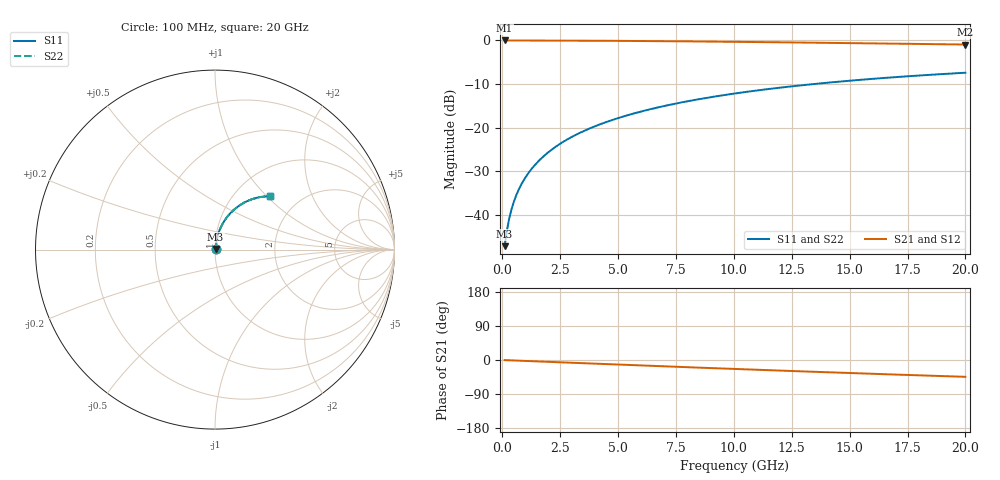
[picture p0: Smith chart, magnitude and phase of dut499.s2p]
! Touchstone file exported from HFSS 2026.1.0
!  File:  C:/ffzhzh/LocalFiles/Ansys_Project_Files/temp_train_TMRDL_499_1783006714_46388.aedt
!  Generated:  11:39:59 PM Jul  2, 2026
!  Design:  TMRDL
!  Project:  temp_train_TMRDL_499_1783006714_46388
! Variables:
!  h_bsmrdl = 2um
!  h_ox = 20um
!  h_rdl = 5um
!  h_sub = 80um
!  h_tmrdl = 2.87um
!  h_tsv = 80um
!  h_via = 3um
!  l_bsmrdl = 300um
!  l_sub = 1022.93um
!  l_tmrdl = 622.93um
!  m_sub = 200um
!  pitch = 57.88um
!  r_tsv = 6um
!  s_tmrdl = 10um
!  w_bsmrdl = 18um
!  w_sub = 500um
!  w_tmrdl = 25.05um
!  x_tsv_center1 = 635.455um
!  x_tsv_center2 = 953.455um
!  x_tsv_center3 = 1601.435um
!  x_tsv_center4 = 1919.435um
!  x_tsv_center5 = 2567.415um
!  x_tsv_center6 = 2885.415um
# GHz S MA R 50.000000
! Terminal data exported
! Port[1] = TM_RDL1_1_T1
! Port[2] = TM_RDL1_1_T2
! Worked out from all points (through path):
!   200 points, 100 MHz to 20 GHz, reference 50 ohm
!   highest |S21| = -0.03 dB at 100 MHz (marker M1); lowest = -1.0 dB at 20 GHz (marker M2)
!   group delay of S21, straight-line fit = 6.18 ps
!   lowest |S11| = -47.2 dB at 100 MHz (marker M3), VSWR 1.01, Z = 50.3 + j0.286 ohm
!   |S11| at or under -10 dB: start of sweep to 13.47 GHz
!   |S22| runs from -47.2 to -7.4 dB; largest |S21 - S12| = 3.5e-15
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0.1  0.004384 40.4  0.9967 -0.3  0.9967 -0.3  0.004384 40.4
! Gamma 0 0 0 0
! Port Impedance 50 0 50 0
0.2  0.006628 58.0  0.9965 -0.5  0.9965 -0.5  0.006628 58.0
0.3  0.009118 65.8  0.9963 -0.8  0.9963 -0.8  0.009118 65.8
0.4  0.01164 70.0  0.9962 -1.0  0.9962 -1.0  0.01164 70.0
0.5  0.01417 72.7  0.996 -1.2  0.996 -1.2  0.01417 72.7
0.6  0.0167 74.6  0.9959 -1.5  0.9959 -1.5  0.0167 74.6
0.8  0.02177 77.0  0.9956 -2.0  0.9956 -2.0  0.02177 77.0
1.1  0.02941 78.9  0.9953 -2.7  0.9953 -2.7  0.02941 78.9
1.3  0.03453 79.6  0.9951 -3.2  0.9951 -3.2  0.03453 79.6
1.6  0.04224 80.1  0.9947 -3.9  0.9947 -3.9  0.04224 80.1
2.1  0.05509 80.1  0.9939 -5.1  0.9939 -5.1  0.05509 80.1
2.7  0.07049 79.6  0.9928 -6.5  0.9928 -6.5  0.07049 79.6
3.5  0.09089 78.4  0.9909 -8.5  0.9909 -8.5  0.09089 78.4
4.2  0.1086 77.1  0.9889 -10.1  0.9889 -10.1  0.1086 77.1
5  0.1285 75.5  0.9862 -12.0  0.9862 -12.0  0.1285 75.5
5.9  0.1506 73.6  0.9827 -14.2  0.9827 -14.2  0.1506 73.6
6.8  0.1723 71.6  0.9788 -16.3  0.9788 -16.3  0.1722 71.7
8.3  0.2073 68.4  0.9714 -19.7  0.9714 -19.7  0.2072 68.4
10.1  0.2473 64.4  0.9613 -23.8  0.9613 -23.8  0.2473 64.4
13.4  0.3148 57.4  0.9404 -31.0  0.9404 -31.0  0.3148 57.4
16.7  0.3742 50.7  0.9178 -37.9  0.9178 -37.9  0.3742 50.7
20  0.4254 44.3  0.895 -44.4  0.895 -44.4  0.4254 44.3
